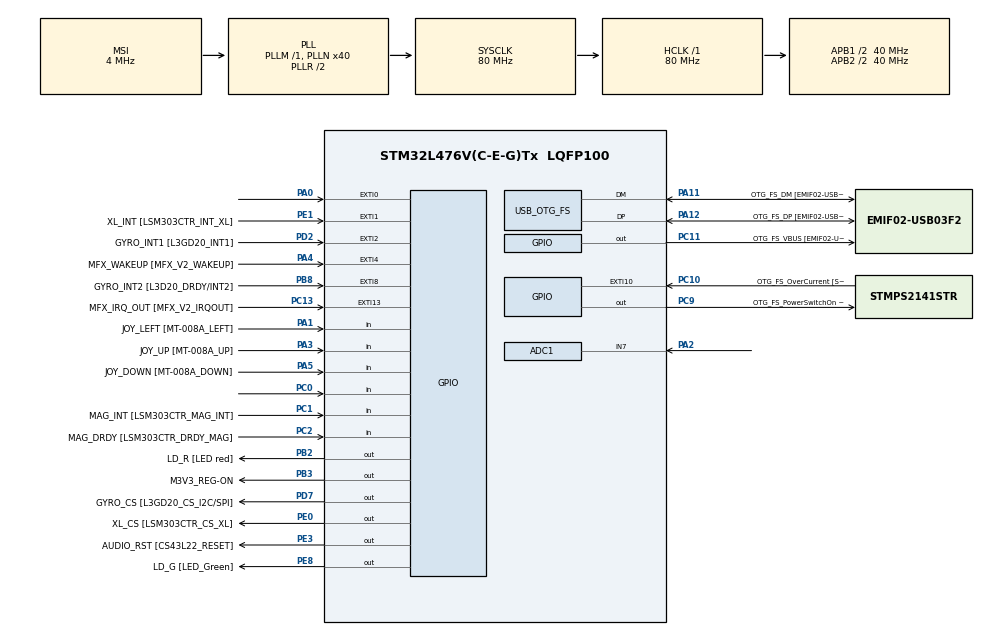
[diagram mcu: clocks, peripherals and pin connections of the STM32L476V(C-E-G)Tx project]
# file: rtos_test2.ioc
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ADC1.Channel-0\#ChannelRegularConversion=ADC_CHANNEL_7
ADC1.NbrOfConversionFlag=1
ADC1.OffsetNumber-0\#ChannelRegularConversion=ADC_OFFSET_NONE
ADC1.Rank-0\#ChannelRegularConversion=1
ADC1.SamplingTime-0\#ChannelRegularConversion=ADC_SAMPLETIME_2CYCLES_5
ADC1.master=1
FREERTOS.Tasks01=defaultTask,24,128,StartDefaultTask,Default,NULL,Dynamic,NULL,NULL;blink,8,128,StartBlink,Default,NULL,Dynamic,NULL,NULL
Mcu.Family=STM32L4
Mcu.Name=STM32L476V(C-E-G)Tx
Mcu.Package=LQFP100
NVIC.EXTI0_IRQn=true\:15\:0\:true\:true\:true\:2\:false\:true\:true
NVIC.OTG_FS_IRQn=true\:0\:0\:false\:true\:true\:1\:false\:true\:true
NVIC.PriorityGroup=NVIC_PRIORITYGROUP_4
NVIC.TIM6_DAC_IRQn=true\:0\:0\:false\:false\:true\:false\:false\:true
NVIC.TimeBase=TIM6_DAC_IRQn
NVIC.TimeBaseIP=TIM6
PA0.GPIO_PuPd=GPIO_PULLDOWN
PA0.Signal=GPXTI0
PA1.GPIO_Label=JOY_LEFT [MT-008A_LEFT]
PA1.GPIO_Mode=GPIO_MODE_INPUT
PA1.GPIO_PuPd=GPIO_PULLDOWN
PA1.Signal=GPIO_Input
PA10.GPIO_Label=COM2 [GH08172T_COM2]
PA10.GPIO_Mode=GPIO_MODE_AF_PP
PA10.GPIO_PuPd=GPIO_NOPULL
PA10.GPIO_Speed=GPIO_SPEED_FREQ_LOW
PA10.Signal=LCD_COM2
PA11.GPIO_Label=OTG_FS_DM [EMIF02-USB03F2_D-out]
PA11.GPIO_Mode=GPIO_MODE_AF_PP
PA11.GPIO_PuPd=GPIO_NOPULL
PA11.GPIO_Speed=GPIO_SPEED_FREQ_VERY_HIGH
PA11.Mode=Device_Only
PA11.Signal=USB_OTG_FS_DM
PA12.GPIO_Label=OTG_FS_DP [EMIF02-USB03F2_D+out]
PA12.GPIO_Mode=GPIO_MODE_AF_PP
PA12.GPIO_PuPd=GPIO_NOPULL
PA12.GPIO_Speed=GPIO_SPEED_FREQ_VERY_HIGH
PA12.Mode=Device_Only
PA12.Signal=USB_OTG_FS_DP
PA13\ (JTMS-SWDIO).GPIO_Label=SWDIO
PA13\ (JTMS-SWDIO).Mode=Serial_Wire
PA13\ (JTMS-SWDIO).Signal=SYS_JTMS-SWDIO
PA14\ (JTCK-SWCLK).GPIO_Label=SWCLK
PA14\ (JTCK-SWCLK).Mode=Serial_Wire
PA14\ (JTCK-SWCLK).Signal=SYS_JTCK-SWCLK
PA15\ (JTDI).GPIO_Label=SEG10 [GH08172T_SEG10]
PA15\ (JTDI).GPIO_Mode=GPIO_MODE_AF_PP
PA15\ (JTDI).GPIO_PuPd=GPIO_NOPULL
PA15\ (JTDI).GPIO_Speed=GPIO_SPEED_FREQ_LOW
PA15\ (JTDI).Signal=LCD_SEG17
PA2.Signal=ADCx_IN7
PA3.GPIO_Label=JOY_UP [MT-008A_UP]
PA3.GPIO_Mode=GPIO_MODE_INPUT
PA3.GPIO_PuPd=GPIO_PULLDOWN
PA3.Signal=GPIO_Input
PA4.GPIO_Label=MFX_WAKEUP [MFX_V2_WAKEUP]
PA4.GPIO_ModeDefaultEXTI=GPIO_MODE_EVT_RISING
PA4.GPIO_PuPd=GPIO_NOPULL
PA4.Signal=GPXTI4
PA5.GPIO_Label=JOY_DOWN [MT-008A_DOWN]
PA5.GPIO_Mode=GPIO_MODE_INPUT
PA5.GPIO_PuPd=GPIO_PULLDOWN
PA5.Signal=GPIO_Input
PA6.GPIO_Label=SEG23 [GH08172T_SEG23]
PA6.GPIO_Mode=GPIO_MODE_AF_PP
PA6.GPIO_PuPd=GPIO_NOPULL
PA6.GPIO_Speed=GPIO_SPEED_FREQ_LOW
PA6.Signal=LCD_SEG3
PA7.GPIO_Label=SEG0 [GH08172T_SEG0]
PA7.GPIO_Mode=GPIO_MODE_AF_PP
PA7.GPIO_PuPd=GPIO_NOPULL
PA7.GPIO_Speed=GPIO_SPEED_FREQ_LOW
PA7.Signal=LCD_SEG4
PA8.GPIO_Label=COM0 [GH08172T_COM0]
PA8.GPIO_Mode=GPIO_MODE_AF_PP
PA8.GPIO_PuPd=GPIO_NOPULL
PA8.GPIO_Speed=GPIO_SPEED_FREQ_LOW
PA8.Signal=LCD_COM0
PA9.GPIO_Label=COM1 [GH08172T_COM1]
PA9.GPIO_Mode=GPIO_MODE_AF_PP
PA9.GPIO_PuPd=GPIO_NOPULL
PA9.GPIO_Speed=GPIO_SPEED_FREQ_LOW
PA9.Signal=LCD_COM1
PB0.GPIO_Label=SEG21 [GH08172T_SEG21]
PB0.GPIO_Mode=GPIO_MODE_AF_PP
PB0.GPIO_PuPd=GPIO_NOPULL
PB0.GPIO_Speed=GPIO_SPEED_FREQ_LOW
PB0.Signal=LCD_SEG5
PB1.GPIO_Label=SEG2 [GH08172T_SEG2]
PB1.GPIO_Mode=GPIO_MODE_AF_PP
PB1.GPIO_PuPd=GPIO_NOPULL
PB1.GPIO_Speed=GPIO_SPEED_FREQ_LOW
PB1.Signal=LCD_SEG6
PB10.GPIO_Label=MFX_I2C_SLC [MFX_V2_I2C_SCL]
PB10.GPIO_Mode=GPIO_MODE_AF_OD
PB10.GPIO_PuPdOD=GPIO_PULLUP
PB10.GPIO_Speed=GPIO_SPEED_FREQ_VERY_HIGH
PB10.Signal=I2C2_SCL
PB11.GPIO_Label=MFX_I2C_SDA [MFX_V2_I2C_SDA]
PB11.GPIO_Mode=GPIO_MODE_AF_OD
PB11.GPIO_PuPdOD=GPIO_PULLUP
PB11.GPIO_Speed=GPIO_SPEED_FREQ_VERY_HIGH
PB11.Signal=I2C2_SDA
PB12.GPIO_Label=SEG20 [GH08172T_SEG20]
PB12.GPIO_Mode=GPIO_MODE_AF_PP
PB12.GPIO_PuPd=GPIO_NOPULL
PB12.GPIO_Speed=GPIO_SPEED_FREQ_LOW
PB12.Signal=LCD_SEG12
PB13.GPIO_Label=SEG3 [GH08172T_SEG3]
PB13.GPIO_Mode=GPIO_MODE_AF_PP
PB13.GPIO_PuPd=GPIO_NOPULL
PB13.GPIO_Speed=GPIO_SPEED_FREQ_LOW
PB13.Signal=LCD_SEG13
PB14.GPIO_Label=SEG19 [GH08172T_SEG19]
PB14.GPIO_Mode=GPIO_MODE_AF_PP
PB14.GPIO_PuPd=GPIO_NOPULL
PB14.GPIO_Speed=GPIO_SPEED_FREQ_LOW
PB14.Signal=LCD_SEG14
PB15.GPIO_Label=SEG4 [GH08172T_SEG4]
PB15.GPIO_Mode=GPIO_MODE_AF_PP
PB15.GPIO_PuPd=GPIO_NOPULL
PB15.GPIO_Speed=GPIO_SPEED_FREQ_LOW
PB15.Signal=LCD_SEG15
PB2.GPIO_Label=LD_R [LED red]
PB2.GPIO_ModeDefaultOutputPP=GPIO_MODE_OUTPUT_PP
PB2.GPIO_PuPd=GPIO_PULLUP
PB2.GPIO_Speed=GPIO_SPEED_FREQ_VERY_HIGH
PB2.Signal=GPIO_Output
PB3\ (JTDO-TRACESWO).GPIO_Label=M3V3_REG-ON
PB3\ (JTDO-TRACESWO).GPIO_ModeDefaultOutputPP=GPIO_MODE_OUTPUT_PP
PB3\ (JTDO-TRACESWO).GPIO_PuPd=GPIO_NOPULL
PB3\ (JTDO-TRACESWO).GPIO_Speed=GPIO_SPEED_FREQ_LOW
PB3\ (JTDO-TRACESWO).Signal=GPIO_Output
PB4\ (NJTRST).GPIO_Label=SEG11 [GH08172T_SEG11]
PB4\ (NJTRST).GPIO_Mode=GPIO_MODE_AF_PP
PB4\ (NJTRST).GPIO_PuPd=GPIO_NOPULL
PB4\ (NJTRST).GPIO_Speed=GPIO_SPEED_FREQ_LOW
PB4\ (NJTRST).Signal=LCD_SEG8
PB5.GPIO_Label=SEG12 [GH08172T_SEG12]
PB5.GPIO_Mode=GPIO_MODE_AF_PP
PB5.GPIO_PuPd=GPIO_NOPULL
PB5.GPIO_Speed=GPIO_SPEED_FREQ_LOW
PB5.Signal=LCD_SEG9
PB6.GPIO_FM6=__NULL
PB6.GPIO_Label=I2C1_SCL [SSM-104-L-DH_SCL]
PB6.GPIO_Mode=GPIO_MODE_AF_OD
PB6.GPIO_PuPdOD=GPIO_PULLUP
PB6.GPIO_Speed=GPIO_SPEED_FREQ_VERY_HIGH
PB6.Signal=I2C1_SCL
PB7.GPIO_FM7=__NULL
PB7.GPIO_Label=I2C1_SDA [SSM-104-L-DH_SDA]
PB7.GPIO_Mode=GPIO_MODE_AF_OD
PB7.GPIO_PuPdOD=GPIO_PULLUP
PB7.GPIO_Speed=GPIO_SPEED_FREQ_VERY_HIGH
PB7.Signal=I2C1_SDA
PB8.GPIO_Label=GYRO_INT2 [L3D20_DRDY/INT2]
PB8.GPIO_ModeDefaultEXTI=GPIO_MODE_EVT_RISING
PB8.GPIO_PuPd=GPIO_NOPULL
PB8.Signal=GPXTI8
PB9.GPIO_FM9=__NULL
PB9.GPIO_Label=COM3 [GH08172T_COM3]
PB9.GPIO_Mode=GPIO_MODE_AF_PP
PB9.GPIO_PuPd=GPIO_NOPULL
PB9.GPIO_Speed=GPIO_SPEED_FREQ_LOW
PB9.Signal=LCD_COM3
PC0.Signal=GPIO_Input
PC1.GPIO_Label=MAG_INT [LSM303CTR_MAG_INT]
PC1.GPIO_Mode=GPIO_MODE_INPUT
PC1.GPIO_PuPd=GPIO_NOPULL
PC1.Signal=GPIO_Input
PC10.GPIO_Label=OTG_FS_OverCurrent [STMPS2141STR_FAULT]
PC10.GPIO_ModeDefaultEXTI=GPIO_MODE_EVT_RISING
PC10.GPIO_PuPd=GPIO_NOPULL
PC10.Signal=GPXTI10
PC11.GPIO_Label=OTG_FS_VBUS [EMIF02-USB03F2_Vbus]
PC11.GPIO_ModeDefaultOutputPP=GPIO_MODE_OUTPUT_PP
PC11.GPIO_PuPd=GPIO_NOPULL
PC11.GPIO_Speed=GPIO_SPEED_FREQ_LOW
PC11.Signal=GPIO_Output
PC13.GPIO_Label=MFX_IRQ_OUT [MFX_V2_IRQOUT]
PC13.GPIO_ModeDefaultEXTI=GPIO_MODE_EVT_RISING
PC13.GPIO_PuPd=GPIO_NOPULL
PC13.Signal=GPXTI13
PC14-OSC32_IN\ (PC14).Mode=LSE-External-Oscillator
PC14-OSC32_IN\ (PC14).Signal=RCC_OSC32_IN
PC15-OSC32_OUT\ (PC15).Mode=LSE-External-Oscillator
PC15-OSC32_OUT\ (PC15).Signal=RCC_OSC32_OUT
PC2.GPIO_Label=MAG_DRDY [LSM303CTR_DRDY_MAG]
PC2.GPIO_Mode=GPIO_MODE_INPUT
PC2.GPIO_PuPd=GPIO_NOPULL
PC2.Signal=GPIO_Input
PC3.GPIO_Label=VLCD
PC3.GPIO_Mode=GPIO_MODE_AF_PP
PC3.GPIO_PuPd=GPIO_NOPULL
PC3.GPIO_Speed=GPIO_SPEED_FREQ_LOW
PC3.Signal=LCD_VLCD
PC4.GPIO_Label=SEG22 [GH08172T_SEG22]
PC4.GPIO_Mode=GPIO_MODE_AF_PP
PC4.GPIO_PuPd=GPIO_NOPULL
PC4.GPIO_Speed=GPIO_SPEED_FREQ_LOW
PC4.Signal=LCD_SEG22
PC5.GPIO_Label=SEG1 [GH08172T_SEG1]
PC5.GPIO_Mode=GPIO_MODE_AF_PP
PC5.GPIO_PuPd=GPIO_NOPULL
PC5.GPIO_Speed=GPIO_SPEED_FREQ_LOW
PC5.Signal=LCD_SEG23
PC6.GPIO_Label=SEG14 [GH08172T_SEG14]
PC6.GPIO_Mode=GPIO_MODE_AF_PP
PC6.GPIO_PuPd=GPIO_NOPULL
PC6.GPIO_Speed=GPIO_SPEED_FREQ_LOW
PC6.Signal=LCD_SEG24
PC7.GPIO_Label=SEG9 [GH08172T_SEG9]
PC7.GPIO_Mode=GPIO_MODE_AF_PP
PC7.GPIO_PuPd=GPIO_NOPULL
PC7.GPIO_Speed=GPIO_SPEED_FREQ_LOW
PC7.Signal=LCD_SEG25
PC8.GPIO_Label=SEG13 [GH08172T_SEG13]
PC8.GPIO_Mode=GPIO_MODE_AF_PP
PC8.GPIO_PuPd=GPIO_NOPULL
PC8.GPIO_Speed=GPIO_SPEED_FREQ_LOW
PC8.Signal=LCD_SEG26
PC9.GPIO_Label=OTG_FS_PowerSwitchOn [STMPS2141STR_EN]
PC9.GPIO_ModeDefaultOutputPP=GPIO_MODE_OUTPUT_PP
PC9.GPIO_PuPd=GPIO_NOPULL
PC9.GPIO_Speed=GPIO_SPEED_FREQ_LOW
PC9.PinState=GPIO_PIN_SET
PC9.Signal=GPIO_Output
PD1.GPIO_Label=MEMS_SCK [L3GD20_SCL/SPC]
PD1.GPIO_Mode=GPIO_MODE_AF_PP
PD1.GPIO_PuPd=GPIO_NOPULL
PD1.GPIO_Speed=GPIO_SPEED_FREQ_VERY_HIGH
PD1.Signal=SPI2_SCK
PD10.GPIO_Label=SEG17 [GH08172T_SEG17]
PD10.GPIO_Mode=GPIO_MODE_AF_PP
PD10.GPIO_PuPd=GPIO_NOPULL
PD10.GPIO_Speed=GPIO_SPEED_FREQ_LOW
PD10.Signal=LCD_SEG30
PD11.GPIO_Label=SEG6 [GH08172T_SEG6]
PD11.GPIO_Mode=GPIO_MODE_AF_PP
PD11.GPIO_PuPd=GPIO_NOPULL
PD11.GPIO_Speed=GPIO_SPEED_FREQ_LOW
PD11.Signal=LCD_SEG31
PD12.GPIO_Label=SEG16 [GH08172T_SEG16]
PD12.GPIO_Mode=GPIO_MODE_AF_PP
PD12.GPIO_PuPd=GPIO_NOPULL
PD12.GPIO_Speed=GPIO_SPEED_FREQ_LOW
PD12.Signal=LCD_SEG32
PD13.GPIO_Label=SEG7 [GH08172T_SEG7]
PD13.GPIO_Mode=GPIO_MODE_AF_PP
PD13.GPIO_PuPd=GPIO_NOPULL
PD13.GPIO_Speed=GPIO_SPEED_FREQ_LOW
PD13.Signal=LCD_SEG33
PD14.GPIO_Label=SEG15 [GH08172T_SEG15]
PD14.GPIO_Mode=GPIO_MODE_AF_PP
PD14.GPIO_PuPd=GPIO_NOPULL
PD14.GPIO_Speed=GPIO_SPEED_FREQ_LOW
PD14.Signal=LCD_SEG34
PD15.GPIO_Label=SEG8 [GH08172T_SEG8]
PD15.GPIO_Mode=GPIO_MODE_AF_PP
PD15.GPIO_PuPd=GPIO_NOPULL
PD15.GPIO_Speed=GPIO_SPEED_FREQ_LOW
PD15.Signal=LCD_SEG35
PD2.GPIO_Label=GYRO_INT1 [L3GD20_INT1]
PD2.GPIO_ModeDefaultEXTI=GPIO_MODE_EVT_RISING
PD2.GPIO_PuPd=GPIO_NOPULL
PD2.Signal=GPXTI2
PD3.GPIO_Label=MEMS_MISO [L3GD20_SA0/SDO]
PD3.GPIO_Mode=GPIO_MODE_AF_PP
PD3.GPIO_PuPd=GPIO_NOPULL
PD3.GPIO_Speed=GPIO_SPEED_FREQ_VERY_HIGH
PD3.Signal=SPI2_MISO
PD4.GPIO_Label=MEMS_MOSI [L3GD20_SDA/SDI/SDO]
PD4.GPIO_Mode=GPIO_MODE_AF_PP
PD4.GPIO_PuPd=GPIO_NOPULL
PD4.GPIO_Speed=GPIO_SPEED_FREQ_VERY_HIGH
PD4.Signal=SPI2_MOSI
PD5.GPIO_Label=USART_TX
PD5.GPIO_Mode=GPIO_MODE_AF_PP
PD5.GPIO_PuPd=GPIO_PULLUP
PD5.GPIO_Speed=GPIO_SPEED_FREQ_VERY_HIGH
PD5.Signal=USART2_TX
PD6.GPIO_Label=USART_RX
PD6.GPIO_Mode=GPIO_MODE_AF_PP
PD6.GPIO_PuPd=GPIO_PULLUP
PD6.GPIO_Speed=GPIO_SPEED_FREQ_VERY_HIGH
PD6.Signal=USART2_RX
PD7.GPIO_Label=GYRO_CS [L3GD20_CS_I2C/SPI]
PD7.GPIO_ModeDefaultOutputPP=GPIO_MODE_OUTPUT_PP
PD7.GPIO_PuPd=GPIO_NOPULL
PD7.GPIO_Speed=GPIO_SPEED_FREQ_VERY_HIGH
PD7.Signal=GPIO_Output
PD8.GPIO_Label=SEG18 [GH08172T_SEG18]
PD8.GPIO_Mode=GPIO_MODE_AF_PP
PD8.GPIO_PuPd=GPIO_NOPULL
PD8.GPIO_Speed=GPIO_SPEED_FREQ_LOW
PD8.Signal=LCD_SEG28
PD9.GPIO_Label=SEG5 [GH08172T_SEG5]
PD9.GPIO_Mode=GPIO_MODE_AF_PP
PD9.GPIO_PuPd=GPIO_NOPULL
PD9.GPIO_Speed=GPIO_SPEED_FREQ_LOW
PD9.Signal=LCD_SEG29
PE0.GPIO_Label=XL_CS [LSM303CTR_CS_XL]
PE0.GPIO_ModeDefaultOutputPP=GPIO_MODE_OUTPUT_PP
PE0.GPIO_PuPd=GPIO_NOPULL
PE0.GPIO_Speed=GPIO_SPEED_FREQ_LOW
PE0.Signal=GPIO_Output
PE1.GPIO_Label=XL_INT [LSM303CTR_INT_XL]
PE1.GPIO_ModeDefaultEXTI=GPIO_MODE_EVT_RISING
PE1.GPIO_PuPd=GPIO_NOPULL
PE1.Signal=GPXTI1
PE10.GPIO_Label=QSPI_CLK [N25Q128A13EF840E_C]
PE10.GPIO_Mode=GPIO_MODE_AF_PP
PE10.GPIO_PuPd=GPIO_NOPULL
PE10.GPIO_Speed=GPIO_SPEED_FREQ_VERY_HIGH
PE10.Signal=QUADSPI_CLK
PE11.GPIO_Label=QSPI_CS [N25Q128A13EF840E_S\#]
PE11.GPIO_Mode=GPIO_MODE_AF_PP
PE11.GPIO_PuPd=GPIO_NOPULL
PE11.GPIO_Speed=GPIO_SPEED_FREQ_VERY_HIGH
PE11.Signal=QUADSPI_NCS
PE12.GPIO_Label=QSPI_D0 [N25Q128A13EF840E_DQ0]
PE12.GPIO_Mode=GPIO_MODE_AF_PP
PE12.GPIO_PuPd=GPIO_NOPULL
PE12.GPIO_Speed=GPIO_SPEED_FREQ_VERY_HIGH
PE12.Signal=QUADSPI_BK1_IO0
PE13.GPIO_Label=QSPI_D1 [N25Q128A13EF840E_DQ1]
PE13.GPIO_Mode=GPIO_MODE_AF_PP
PE13.GPIO_PuPd=GPIO_NOPULL
PE13.GPIO_Speed=GPIO_SPEED_FREQ_VERY_HIGH
PE13.Signal=QUADSPI_BK1_IO1
PE14.GPIO_Label=QSPI_D2 [N25Q128A13EF840E_DQ2]
PE14.GPIO_Mode=GPIO_MODE_AF_PP
PE14.GPIO_PuPd=GPIO_NOPULL
PE14.GPIO_Speed=GPIO_SPEED_FREQ_VERY_HIGH
PE14.Signal=QUADSPI_BK1_IO2
PE15.Signal=FMC_DA12
PE2.GPIO_Label=SAI1_MCK [CS43L22_MCLK]
PE2.GPIO_Mode=GPIO_MODE_AF_PP
PE2.GPIO_PuPd=GPIO_NOPULL
PE2.GPIO_Speed=GPIO_SPEED_FREQ_VERY_HIGH
PE2.Signal=SAI1_MCLK_A
PE3.GPIO_Label=AUDIO_RST [CS43L22_RESET]
PE3.GPIO_ModeDefaultOutputPP=GPIO_MODE_OUTPUT_PP
PE3.GPIO_PuPd=GPIO_NOPULL
PE3.GPIO_Speed=GPIO_SPEED_FREQ_HIGH
PE3.Signal=GPIO_Output
PE4.GPIO_Label=SAI1_FS [CS43L22_LRCK]
PE4.GPIO_Mode=GPIO_MODE_AF_PP
PE4.GPIO_PuPd=GPIO_NOPULL
PE4.GPIO_Speed=GPIO_SPEED_FREQ_VERY_HIGH
PE4.Signal=SAI1_FS_A
PE5.GPIO_Label=SAI1_SCK [CS43L22_SCLK]
PE5.GPIO_Mode=GPIO_MODE_AF_PP
PE5.GPIO_PuPd=GPIO_NOPULL
PE5.GPIO_Speed=GPIO_SPEED_FREQ_VERY_HIGH
PE5.Signal=SAI1_SCK_A
PE6.GPIO_Label=SAI1_SD [CS43L22_SDIN]
PE6.GPIO_Mode=GPIO_MODE_AF_PP
PE6.GPIO_PuPd=GPIO_NOPULL
PE6.GPIO_Speed=GPIO_SPEED_FREQ_VERY_HIGH
PE6.Signal=SAI1_SD_A
PE7.GPIO_Label=AUDIO_DIN [MP34DT01_DOUT]
PE7.GPIO_Mode=GPIO_MODE_AF_PP
PE7.GPIO_PuPd=GPIO_NOPULL
PE7.GPIO_Speed=GPIO_SPEED_FREQ_VERY_HIGH
PE7.Signal=SAI1_SD_B
PE8.GPIO_Label=LD_G [LED_Green]
PE8.GPIO_ModeDefaultOutputPP=GPIO_MODE_OUTPUT_PP
PE8.GPIO_PuPd=GPIO_PULLUP
PE8.GPIO_Speed=GPIO_SPEED_FREQ_VERY_HIGH
PE8.Signal=GPIO_Output
PE9.GPIO_Label=AUDIO_CLK [MP34DT01_CLK]
PE9.GPIO_Mode=GPIO_MODE_AF_PP
PE9.GPIO_PuPd=GPIO_NOPULL
PE9.GPIO_Speed=GPIO_SPEED_FREQ_LOW
PE9.Signal=SAI1_FS_B
PH0-OSC_IN\ (PH0).Mode=HSE-External-Oscillator
PH0-OSC_IN\ (PH0).Signal=RCC_OSC_IN
PH1-OSC_OUT\ (PH1).Mode=HSE-External-Oscillator
PH1-OSC_OUT\ (PH1).Signal=RCC_OSC_OUT
ProjectManager.HeapSize=0x200
ProjectManager.StackSize=0x400
ProjectManager.TargetToolchain=STM32CubeIDE
RCC.ADCFreq_Value=48000000
RCC.AHBFreq_Value=80000000
RCC.APB1CLKDivider=RCC_HCLK_DIV2
RCC.APB1Freq_Value=40000000
RCC.APB1TimFreq_Value=80000000
RCC.APB2CLKDivider=RCC_HCLK_DIV2
RCC.APB2Freq_Value=40000000
RCC.APB2TimFreq_Value=80000000
RCC.CortexFreq_Value=80000000
RCC.HCLKFreq_Value=80000000
RCC.HSE_VALUE=8000000
RCC.HSI_VALUE=16000000
RCC.MSI_VALUE=4000000
RCC.PLLN=40
RCC.PLLSAI1N=24
RCC.PREFETCH_ENABLE=1
RCC.SYSCLKFreq_VALUE=80000000
RCC.SYSCLKSource=RCC_SYSCLKSOURCE_PLLCLK
RCC.USBFreq_Value=48000000
RCC.VCOOutputFreq_Value=160000000
SH.ADCx_IN7.0=ADC1_IN7,IN7-Single-Ended
USB_DEVICE.CLASS_NAME_FS=CDC
USB_DEVICE.VirtualMode=Cdc
USB_DEVICE.VirtualModeFS=Cdc_FS
USB_OTG_FS.VirtualMode=Device_Only
VP_FREERTOS_VS_CMSIS_V2.Mode=CMSIS_V2
VP_SYS_VS_tim6.Mode=TIM6
VP_USB_DEVICE_VS_USB_DEVICE_CDC_FS.Mode=CDC_FS
board=STM32L476G-DISCO

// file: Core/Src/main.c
/* USER CODE BEGIN Header */
/**
  ******************************************************************************
  * @file           : main.c
  * @brief          : Main program body
  ******************************************************************************
  * @attention
  *
  * <h2><center>&copy; Copyright (c) 2020 STMicroelectronics.
  * All rights reserved.</center></h2>
  *
  * This software component is licensed by ST under Ultimate Liberty license
  * SLA0044, the "License"; You may not use this file except in compliance with
  * the License. You may obtain a copy of the License at:
  *                             www.st.com/SLA0044
  *
  ******************************************************************************
  */
/* USER CODE END Header */
#include "main.h"
#include "cmsis_os.h"
#include "usb_device.h"

/* USER CODE BEGIN Includes */
#include "usbd_cdc_if.h"
/* USER CODE END Includes */

ADC_HandleTypeDef hadc1;

/* Definitions for defaultTask */
osThreadId_t defaultTaskHandle;
const osThreadAttr_t defaultTask_attributes = {
  .name = "defaultTask",
  .priority = (osPriority_t) osPriorityNormal,
  .stack_size = 128 * 4
};
/* Definitions for blink */
osThreadId_t blinkHandle;
const osThreadAttr_t blink_attributes = {
  .name = "blink",
  .priority = (osPriority_t) osPriorityLow,
  .stack_size = 128 * 4
};

void SystemClock_Config(void);
static void MX_GPIO_Init(void);
static void MX_ADC1_Init(void);
void StartDefaultTask(void *argument);
void StartBlink(void *argument);

static void MX_NVIC_Init(void);

int main(void)
{

  /* MCU Configuration--------------------------------------------------------*/

  /* Reset of all peripherals, Initializes the Flash interface and the Systick. */
  HAL_Init();

  /* Configure the system clock */
  SystemClock_Config();

  /* Initialize all configured peripherals */
  MX_GPIO_Init();
  MX_ADC1_Init();

  /* Initialize interrupts */
  MX_NVIC_Init();

  /* Init scheduler */
  osKernelInitialize();

  /* Create the thread(s) */
  /* creation of defaultTask */
  defaultTaskHandle = osThreadNew(StartDefaultTask, NULL, &defaultTask_attributes);

  /* creation of blink */
  blinkHandle = osThreadNew(StartBlink, NULL, &blink_attributes);

  /* Start scheduler */
  osKernelStart();

  /* We should never get here as control is now taken by the scheduler */
  /* Infinite loop */
  while (1)
  {

  }
}

void SystemClock_Config(void)
{
  RCC_OscInitTypeDef RCC_OscInitStruct = {0};
  RCC_ClkInitTypeDef RCC_ClkInitStruct = {0};
  RCC_PeriphCLKInitTypeDef PeriphClkInit = {0};

  /** Configure LSE Drive Capability
  */
  HAL_PWR_EnableBkUpAccess();
  __HAL_RCC_LSEDRIVE_CONFIG(RCC_LSEDRIVE_LOW);
  /** Initializes the RCC Oscillators according to the specified parameters
  * in the RCC_OscInitTypeDef structure.
  */
  RCC_OscInitStruct.OscillatorType = RCC_OSCILLATORTYPE_LSE|RCC_OSCILLATORTYPE_MSI;
  RCC_OscInitStruct.LSEState = RCC_LSE_ON;
  RCC_OscInitStruct.MSIState = RCC_MSI_ON;
  RCC_OscInitStruct.MSICalibrationValue = 0;
  RCC_OscInitStruct.MSIClockRange = RCC_MSIRANGE_6;
  RCC_OscInitStruct.PLL.PLLState = RCC_PLL_ON;
  RCC_OscInitStruct.PLL.PLLSource = RCC_PLLSOURCE_MSI;
  RCC_OscInitStruct.PLL.PLLM = 1;
  RCC_OscInitStruct.PLL.PLLN = 40;
  RCC_OscInitStruct.PLL.PLLP = RCC_PLLP_DIV7;
  RCC_OscInitStruct.PLL.PLLQ = RCC_PLLQ_DIV2;
  RCC_OscInitStruct.PLL.PLLR = RCC_PLLR_DIV2;
  if (HAL_RCC_OscConfig(&RCC_OscInitStruct) != HAL_OK)
  {
    Error_Handler();
  }
  /** Initializes the CPU, AHB and APB buses clocks
  */
  RCC_ClkInitStruct.ClockType = RCC_CLOCKTYPE_HCLK|RCC_CLOCKTYPE_SYSCLK
                              |RCC_CLOCKTYPE_PCLK1|RCC_CLOCKTYPE_PCLK2;
  RCC_ClkInitStruct.SYSCLKSource = RCC_SYSCLKSOURCE_PLLCLK;
  RCC_ClkInitStruct.AHBCLKDivider = RCC_SYSCLK_DIV1;
  RCC_ClkInitStruct.APB1CLKDivider = RCC_HCLK_DIV2;
  RCC_ClkInitStruct.APB2CLKDivider = RCC_HCLK_DIV2;

  if (HAL_RCC_ClockConfig(&RCC_ClkInitStruct, FLASH_LATENCY_4) != HAL_OK)
  {
    Error_Handler();
  }
  PeriphClkInit.PeriphClockSelection = RCC_PERIPHCLK_USB|RCC_PERIPHCLK_ADC;
  PeriphClkInit.AdcClockSelection = RCC_ADCCLKSOURCE_PLLSAI1;
  PeriphClkInit.UsbClockSelection = RCC_USBCLKSOURCE_PLLSAI1;
  PeriphClkInit.PLLSAI1.PLLSAI1Source = RCC_PLLSOURCE_MSI;
  PeriphClkInit.PLLSAI1.PLLSAI1M = 1;
  PeriphClkInit.PLLSAI1.PLLSAI1N = 24;
  PeriphClkInit.PLLSAI1.PLLSAI1P = RCC_PLLP_DIV7;
  PeriphClkInit.PLLSAI1.PLLSAI1Q = RCC_PLLQ_DIV2;
  PeriphClkInit.PLLSAI1.PLLSAI1R = RCC_PLLR_DIV2;
  PeriphClkInit.PLLSAI1.PLLSAI1ClockOut = RCC_PLLSAI1_48M2CLK|RCC_PLLSAI1_ADC1CLK;
  if (HAL_RCCEx_PeriphCLKConfig(&PeriphClkInit) != HAL_OK)
  {
    Error_Handler();
  }
  /** Configure the main internal regulator output voltage
  */
  if (HAL_PWREx_ControlVoltageScaling(PWR_REGULATOR_VOLTAGE_SCALE1) != HAL_OK)
  {
    Error_Handler();
  }
  /** Enable MSI Auto calibration
  */
  HAL_RCCEx_EnableMSIPLLMode();
}

/**
  * @brief NVIC Configuration.
  * @retval None
  */
static void MX_NVIC_Init(void)
{
  /* OTG_FS_IRQn interrupt configuration */
  HAL_NVIC_SetPriority(OTG_FS_IRQn, 0, 0);
  HAL_NVIC_EnableIRQ(OTG_FS_IRQn);
  /* EXTI0_IRQn interrupt configuration */
  HAL_NVIC_SetPriority(EXTI0_IRQn, 15, 0);
  HAL_NVIC_EnableIRQ(EXTI0_IRQn);
}

static void MX_ADC1_Init(void)
{

  ADC_MultiModeTypeDef multimode = {0};
  ADC_ChannelConfTypeDef sConfig = {0};

  /** Common config
  */
  hadc1.Instance = ADC1;
  hadc1.Init.ClockPrescaler = ADC_CLOCK_ASYNC_DIV1;
  hadc1.Init.Resolution = ADC_RESOLUTION_12B;
  hadc1.Init.DataAlign = ADC_DATAALIGN_RIGHT;
  hadc1.Init.ScanConvMode = ADC_SCAN_DISABLE;
  hadc1.Init.EOCSelection = ADC_EOC_SINGLE_CONV;
  hadc1.Init.LowPowerAutoWait = DISABLE;
  hadc1.Init.ContinuousConvMode = DISABLE;
  hadc1.Init.NbrOfConversion = 1;
  hadc1.Init.DiscontinuousConvMode = DISABLE;
  hadc1.Init.ExternalTrigConv = ADC_SOFTWARE_START;
  hadc1.Init.ExternalTrigConvEdge = ADC_EXTERNALTRIGCONVEDGE_NONE;
  hadc1.Init.DMAContinuousRequests = DISABLE;
  hadc1.Init.Overrun = ADC_OVR_DATA_PRESERVED;
  hadc1.Init.OversamplingMode = DISABLE;
  if (HAL_ADC_Init(&hadc1) != HAL_OK)
  {
    Error_Handler();
  }
  /** Configure the ADC multi-mode
  */
  multimode.Mode = ADC_MODE_INDEPENDENT;
  if (HAL_ADCEx_MultiModeConfigChannel(&hadc1, &multimode) != HAL_OK)
  {
    Error_Handler();
  }
  /** Configure Regular Channel
  */
  sConfig.Channel = ADC_CHANNEL_7;
  sConfig.Rank = ADC_REGULAR_RANK_1;
  sConfig.SamplingTime = ADC_SAMPLETIME_2CYCLES_5;
  sConfig.SingleDiff = ADC_SINGLE_ENDED;
  sConfig.OffsetNumber = ADC_OFFSET_NONE;
  sConfig.Offset = 0;
  if (HAL_ADC_ConfigChannel(&hadc1, &sConfig) != HAL_OK)
  {
    Error_Handler();
  }

}

static void MX_GPIO_Init(void)
{
  GPIO_InitTypeDef GPIO_InitStruct = {0};

  /* GPIO Ports Clock Enable */
  __HAL_RCC_GPIOE_CLK_ENABLE();
  __HAL_RCC_GPIOC_CLK_ENABLE();
  __HAL_RCC_GPIOH_CLK_ENABLE();
  __HAL_RCC_GPIOA_CLK_ENABLE();
  __HAL_RCC_GPIOB_CLK_ENABLE();
  __HAL_RCC_GPIOD_CLK_ENABLE();

  /*Configure GPIO pin Output Level */
  HAL_GPIO_WritePin(GPIOE, AUDIO_RST_Pin|LD_G_Pin|XL_CS_Pin, GPIO_PIN_RESET);

  /*Configure GPIO pin Output Level */
  HAL_GPIO_WritePin(GPIOB, LD_R_Pin|M3V3_REG_ON_Pin, GPIO_PIN_RESET);

  /*Configure GPIO pin Output Level */
  HAL_GPIO_WritePin(OTG_FS_PowerSwitchOn_GPIO_Port, OTG_FS_PowerSwitchOn_Pin, GPIO_PIN_SET);

  /*Configure GPIO pin Output Level */
  HAL_GPIO_WritePin(OTG_FS_VBUS_GPIO_Port, OTG_FS_VBUS_Pin, GPIO_PIN_RESET);

  /*Configure GPIO pin Output Level */
  HAL_GPIO_WritePin(GYRO_CS_GPIO_Port, GYRO_CS_Pin, GPIO_PIN_RESET);

  /*Configure GPIO pins : SAI1_MCK_Pin SAI1_FS_Pin SAI1_SCK_Pin SAI1_SD_Pin
                           AUDIO_DIN_Pin */
  GPIO_InitStruct.Pin = SAI1_MCK_Pin|SAI1_FS_Pin|SAI1_SCK_Pin|SAI1_SD_Pin
                          |AUDIO_DIN_Pin;
  GPIO_InitStruct.Mode = GPIO_MODE_AF_PP;
  GPIO_InitStruct.Pull = GPIO_NOPULL;
  GPIO_InitStruct.Speed = GPIO_SPEED_FREQ_VERY_HIGH;
  GPIO_InitStruct.Alternate = GPIO_AF13_SAI1;
  HAL_GPIO_Init(GPIOE, &GPIO_InitStruct);

  /*Configure GPIO pin : AUDIO_RST_Pin */
  GPIO_InitStruct.Pin = AUDIO_RST_Pin;
  GPIO_InitStruct.Mode = GPIO_MODE_OUTPUT_PP;
  GPIO_InitStruct.Pull = GPIO_NOPULL;
  GPIO_InitStruct.Speed = GPIO_SPEED_FREQ_HIGH;
  HAL_GPIO_Init(AUDIO_RST_GPIO_Port, &GPIO_InitStruct);

  /*Configure GPIO pins : MFX_IRQ_OUT_Pin OTG_FS_OverCurrent_Pin */
  GPIO_InitStruct.Pin = MFX_IRQ_OUT_Pin|OTG_FS_OverCurrent_Pin;
  GPIO_InitStruct.Mode = GPIO_MODE_EVT_RISING;
  GPIO_InitStruct.Pull = GPIO_NOPULL;
  HAL_GPIO_Init(GPIOC, &GPIO_InitStruct);

  /*Configure GPIO pins : PC0 MAG_INT_Pin MAG_DRDY_Pin */
  GPIO_InitStruct.Pin = GPIO_PIN_0|MAG_INT_Pin|MAG_DRDY_Pin;
  GPIO_InitStruct.Mode = GPIO_MODE_INPUT;
  GPIO_InitStruct.Pull = GPIO_NOPULL;
  HAL_GPIO_Init(GPIOC, &GPIO_InitStruct);

  /*Configure GPIO pins : VLCD_Pin SEG22_Pin SEG1_Pin SEG14_Pin
                           SEG9_Pin SEG13_Pin */
  GPIO_InitStruct.Pin = VLCD_Pin|SEG22_Pin|SEG1_Pin|SEG14_Pin
                          |SEG9_Pin|SEG13_Pin;
  GPIO_InitStruct.Mode = GPIO_MODE_AF_PP;
  GPIO_InitStruct.Pull = GPIO_NOPULL;
  GPIO_InitStruct.Speed = GPIO_SPEED_FREQ_LOW;
  GPIO_InitStruct.Alternate = GPIO_AF11_LCD;
  HAL_GPIO_Init(GPIOC, &GPIO_InitStruct);

  /*Configure GPIO pin : PA0 */
  GPIO_InitStruct.Pin = GPIO_PIN_0;
  GPIO_InitStruct.Mode = GPIO_MODE_IT_RISING;
  GPIO_InitStruct.Pull = GPIO_PULLDOWN;
  HAL_GPIO_Init(GPIOA, &GPIO_InitStruct);

  /*Configure GPIO pins : JOY_LEFT_Pin JOY_UP_Pin JOY_DOWN_Pin */
  GPIO_InitStruct.Pin = JOY_LEFT_Pin|JOY_UP_Pin|JOY_DOWN_Pin;
  GPIO_InitStruct.Mode = GPIO_MODE_INPUT;
  GPIO_InitStruct.Pull = GPIO_PULLDOWN;
  HAL_GPIO_Init(GPIOA, &GPIO_InitStruct);

  /*Configure GPIO pin : MFX_WAKEUP_Pin */
  GPIO_InitStruct.Pin = MFX_WAKEUP_Pin;
  GPIO_InitStruct.Mode = GPIO_MODE_EVT_RISING;
  GPIO_InitStruct.Pull = GPIO_NOPULL;
  HAL_GPIO_Init(MFX_WAKEUP_GPIO_Port, &GPIO_InitStruct);

  /*Configure GPIO pins : SEG23_Pin SEG0_Pin COM0_Pin COM1_Pin
                           COM2_Pin SEG10_Pin */
  GPIO_InitStruct.Pin = SEG23_Pin|SEG0_Pin|COM0_Pin|COM1_Pin
                          |COM2_Pin|SEG10_Pin;
  GPIO_InitStruct.Mode = GPIO_MODE_AF_PP;
  GPIO_InitStruct.Pull = GPIO_NOPULL;
  GPIO_InitStruct.Speed = GPIO_SPEED_FREQ_LOW;
  GPIO_InitStruct.Alternate = GPIO_AF11_LCD;
  HAL_GPIO_Init(GPIOA, &GPIO_InitStruct);

  /*Configure GPIO pins : SEG21_Pin SEG2_Pin SEG20_Pin SEG3_Pin
                           SEG19_Pin SEG4_Pin SEG11_Pin SEG12_Pin
                           COM3_Pin */
  GPIO_InitStruct.Pin = SEG21_Pin|SEG2_Pin|SEG20_Pin|SEG3_Pin
                          |SEG19_Pin|SEG4_Pin|SEG11_Pin|SEG12_Pin
                          |COM3_Pin;
  GPIO_InitStruct.Mode = GPIO_MODE_AF_PP;
  GPIO_InitStruct.Pull = GPIO_NOPULL;
  GPIO_InitStruct.Speed = GPIO_SPEED_FREQ_LOW;
  GPIO_InitStruct.Alternate = GPIO_AF11_LCD;
  HAL_GPIO_Init(GPIOB, &GPIO_InitStruct);

  /*Configure GPIO pin : LD_R_Pin */
  GPIO_InitStruct.Pin = LD_R_Pin;
  GPIO_InitStruct.Mode = GPIO_MODE_OUTPUT_PP;
  GPIO_InitStruct.Pull = GPIO_PULLUP;
  GPIO_InitStruct.Speed = GPIO_SPEED_FREQ_VERY_HIGH;
  HAL_GPIO_Init(LD_R_GPIO_Port, &GPIO_InitStruct);

  /*Configure GPIO pin : LD_G_Pin */
  GPIO_InitStruct.Pin = LD_G_Pin;
  GPIO_InitStruct.Mode = GPIO_MODE_OUTPUT_PP;
  GPIO_InitStruct.Pull = GPIO_PULLUP;
  GPIO_InitStruct.Speed = GPIO_SPEED_FREQ_VERY_HIGH;
  HAL_GPIO_Init(LD_G_GPIO_Port, &GPIO_InitStruct);

  /*Configure GPIO pin : AUDIO_CLK_Pin */
  GPIO_InitStruct.Pin = AUDIO_CLK_Pin;
  GPIO_InitStruct.Mode = GPIO_MODE_AF_PP;
  GPIO_InitStruct.Pull = GPIO_NOPULL;
  GPIO_InitStruct.Speed = GPIO_SPEED_FREQ_LOW;
  GPIO_InitStruct.Alternate = GPIO_AF13_SAI1;
  HAL_GPIO_Init(AUDIO_CLK_GPIO_Port, &GPIO_InitStruct);

  /*Configure GPIO pins : QSPI_CLK_Pin QSPI_CS_Pin QSPI_D0_Pin QSPI_D1_Pin
                           QSPI_D2_Pin */
  GPIO_InitStruct.Pin = QSPI_CLK_Pin|QSPI_CS_Pin|QSPI_D0_Pin|QSPI_D1_Pin
                          |QSPI_D2_Pin;
  GPIO_InitStruct.Mode = GPIO_MODE_AF_PP;
  GPIO_InitStruct.Pull = GPIO_NOPULL;
  GPIO_InitStruct.Speed = GPIO_SPEED_FREQ_VERY_HIGH;
  GPIO_InitStruct.Alternate = GPIO_AF10_QUADSPI;
  HAL_GPIO_Init(GPIOE, &GPIO_InitStruct);

  /*Configure GPIO pin : PE15 */
  GPIO_InitStruct.Pin = GPIO_PIN_15;
  GPIO_InitStruct.Mode = GPIO_MODE_AF_PP;
  GPIO_InitStruct.Pull = GPIO_NOPULL;
  GPIO_InitStruct.Speed = GPIO_SPEED_FREQ_VERY_HIGH;
  GPIO_InitStruct.Alternate = GPIO_AF12_FMC;
  HAL_GPIO_Init(GPIOE, &GPIO_InitStruct);

  /*Configure GPIO pins : MFX_I2C_SLC_Pin MFX_I2C_SDA_Pin */
  GPIO_InitStruct.Pin = MFX_I2C_SLC_Pin|MFX_I2C_SDA_Pin;
  GPIO_InitStruct.Mode = GPIO_MODE_AF_OD;
  GPIO_InitStruct.Pull = GPIO_PULLUP;
  GPIO_InitStruct.Speed = GPIO_SPEED_FREQ_VERY_HIGH;
  GPIO_InitStruct.Alternate = GPIO_AF4_I2C2;
  HAL_GPIO_Init(GPIOB, &GPIO_InitStruct);

  /*Configure GPIO pins : SEG18_Pin SEG5_Pin SEG17_Pin SEG6_Pin
                           SEG16_Pin SEG7_Pin SEG15_Pin SEG8_Pin */
  GPIO_InitStruct.Pin = SEG18_Pin|SEG5_Pin|SEG17_Pin|SEG6_Pin
                          |SEG16_Pin|SEG7_Pin|SEG15_Pin|SEG8_Pin;
  GPIO_InitStruct.Mode = GPIO_MODE_AF_PP;
  GPIO_InitStruct.Pull = GPIO_NOPULL;
  GPIO_InitStruct.Speed = GPIO_SPEED_FREQ_LOW;
  GPIO_InitStruct.Alternate = GPIO_AF11_LCD;
  HAL_GPIO_Init(GPIOD, &GPIO_InitStruct);

  /*Configure GPIO pins : OTG_FS_PowerSwitchOn_Pin OTG_FS_VBUS_Pin */
  GPIO_InitStruct.Pin = OTG_FS_PowerSwitchOn_Pin|OTG_FS_VBUS_Pin;
  GPIO_InitStruct.Mode = GPIO_MODE_OUTPUT_PP;
  GPIO_InitStruct.Pull = GPIO_NOPULL;
  GPIO_InitStruct.Speed = GPIO_SPEED_FREQ_LOW;
  HAL_GPIO_Init(GPIOC, &GPIO_InitStruct);

  /*Configure GPIO pins : MEMS_SCK_Pin MEMS_MISO_Pin MEMS_MOSI_Pin */
  GPIO_InitStruct.Pin = MEMS_SCK_Pin|MEMS_MISO_Pin|MEMS_MOSI_Pin;
  GPIO_InitStruct.Mode = GPIO_MODE_AF_PP;
  GPIO_InitStruct.Pull = GPIO_NOPULL;
  GPIO_InitStruct.Speed = GPIO_SPEED_FREQ_VERY_HIGH;
  GPIO_InitStruct.Alternate = GPIO_AF5_SPI2;
  HAL_GPIO_Init(GPIOD, &GPIO_InitStruct);

  /*Configure GPIO pin : GYRO_INT1_Pin */
  GPIO_InitStruct.Pin = GYRO_INT1_Pin;
  GPIO_InitStruct.Mode = GPIO_MODE_EVT_RISING;
  GPIO_InitStruct.Pull = GPIO_NOPULL;
  HAL_GPIO_Init(GYRO_INT1_GPIO_Port, &GPIO_InitStruct);

  /*Configure GPIO pins : USART_TX_Pin USART_RX_Pin */
  GPIO_InitStruct.Pin = USART_TX_Pin|USART_RX_Pin;
  GPIO_InitStruct.Mode = GPIO_MODE_AF_PP;
  GPIO_InitStruct.Pull = GPIO_PULLUP;
  GPIO_InitStruct.Speed = GPIO_SPEED_FREQ_VERY_HIGH;
  GPIO_InitStruct.Alternate = GPIO_AF7_USART2;
  HAL_GPIO_Init(GPIOD, &GPIO_InitStruct);

  /*Configure GPIO pin : GYRO_CS_Pin */
  GPIO_InitStruct.Pin = GYRO_CS_Pin;
  GPIO_InitStruct.Mode = GPIO_MODE_OUTPUT_PP;
  GPIO_InitStruct.Pull = GPIO_NOPULL;
  GPIO_InitStruct.Speed = GPIO_SPEED_FREQ_VERY_HIGH;
  HAL_GPIO_Init(GYRO_CS_GPIO_Port, &GPIO_InitStruct);

  /*Configure GPIO pin : M3V3_REG_ON_Pin */
  GPIO_InitStruct.Pin = M3V3_REG_ON_Pin;
  GPIO_InitStruct.Mode = GPIO_MODE_OUTPUT_PP;
  GPIO_InitStruct.Pull = GPIO_NOPULL;
  GPIO_InitStruct.Speed = GPIO_SPEED_FREQ_LOW;
  HAL_GPIO_Init(M3V3_REG_ON_GPIO_Port, &GPIO_InitStruct);

  /*Configure GPIO pins : I2C1_SCL_Pin I2C1_SDA_Pin */
  GPIO_InitStruct.Pin = I2C1_SCL_Pin|I2C1_SDA_Pin;
  GPIO_InitStruct.Mode = GPIO_MODE_AF_OD;
  GPIO_InitStruct.Pull = GPIO_PULLUP;
  GPIO_InitStruct.Speed = GPIO_SPEED_FREQ_VERY_HIGH;
  GPIO_InitStruct.Alternate = GPIO_AF4_I2C1;
  HAL_GPIO_Init(GPIOB, &GPIO_InitStruct);

  /*Configure GPIO pin : GYRO_INT2_Pin */
  GPIO_InitStruct.Pin = GYRO_INT2_Pin;
  GPIO_InitStruct.Mode = GPIO_MODE_EVT_RISING;
  GPIO_InitStruct.Pull = GPIO_NOPULL;
  HAL_GPIO_Init(GYRO_INT2_GPIO_Port, &GPIO_InitStruct);

  /*Configure GPIO pin : XL_CS_Pin */
  GPIO_InitStruct.Pin = XL_CS_Pin;
  GPIO_InitStruct.Mode = GPIO_MODE_OUTPUT_PP;
  GPIO_InitStruct.Pull = GPIO_NOPULL;
  GPIO_InitStruct.Speed = GPIO_SPEED_FREQ_LOW;
  HAL_GPIO_Init(XL_CS_GPIO_Port, &GPIO_InitStruct);

  /*Configure GPIO pin : XL_INT_Pin */
  GPIO_InitStruct.Pin = XL_INT_Pin;
  GPIO_InitStruct.Mode = GPIO_MODE_EVT_RISING;
  GPIO_InitStruct.Pull = GPIO_NOPULL;
  HAL_GPIO_Init(XL_INT_GPIO_Port, &GPIO_InitStruct);

}

/* USER CODE BEGIN 4 */
void HAL_GPIO_EXTI_Callback(uint16_t GPIO_Pin) {
	if(GPIO_Pin == GPIO_PIN_0){
		// Wake up the StartBlink Task
		BaseType_t taskWoken = pdFALSE;
		vTaskNotifyGiveFromISR(blinkHandle, &taskWoken);
	}
}

/* USER CODE END 4 */

void StartDefaultTask(void *argument)
{
  /* init code for USB_DEVICE */
  MX_USB_DEVICE_Init();
  /* USER CODE BEGIN 5 */
  /* Infinite loop */
  for(;;)
  {
	  // To read from the ADC, you apparently need to start a conversion,
	  // wait for the conversion to complete, then read the ADC value
	  HAL_ADC_Start(&hadc1);
	  HAL_ADC_PollForConversion(&hadc1, HAL_MAX_DELAY);
	  uint32_t val = HAL_ADC_GetValue(&hadc1);
	  // Send a message over the USB port
	  unsigned char buffer[50];
	  snprintf((char*)buffer, sizeof(buffer)-1, "adc val: %ld\r\n", val);
	  CDC_Transmit_FS(buffer, strlen(buffer));
	  osDelay(1000);
  }
  /* USER CODE END 5 */
}

/* USER CODE BEGIN Header_StartBlink */
/* Example of how to wait for a pin to change state. GPIO Pin PA0 is
   configured as an EXTI Interrupt which triggers the
   HAL_GIO_EXTI_Callback function above. Interrupt handling can be
   done in that function, however for lengthy tasks (such as setting a
   gpio pin, waiting for 1s, then clearing it)

   In this case, I have the EXTI interrupt callback set up to notify
   the StartBlink function when it is called, waking up the StartBlink
   function and allowing it to do its thing
 */

/* USER CODE END Header_StartBlink */
void StartBlink(void *argument)
{
  /* USER CODE BEGIN StartBlink */
  /* Infinite loop */
  for(;;)
  {
	  // Wait for wakeup event
	  int notifiedvalue = ulTaskNotifyTake(pdFALSE, -1);
	  if(notifiedvalue > 0){
		  // do whatever. In this case, light the led for 1 second
		  HAL_GPIO_WritePin(GPIOE, LD_G_Pin, GPIO_PIN_SET);
		  osDelay(1000);
		  HAL_GPIO_WritePin(GPIOE, LD_G_Pin, GPIO_PIN_RESET);
	  }
      osDelay(500);
  }
  /* USER CODE END StartBlink */
}

void HAL_TIM_PeriodElapsedCallback(TIM_HandleTypeDef *htim)
{
  if (htim->Instance == TIM6) {
    HAL_IncTick();
  }
}

void Error_Handler(void)
{
}

/************************ (C) COPYRIGHT STMicroelectronics *****END OF FILE****/
